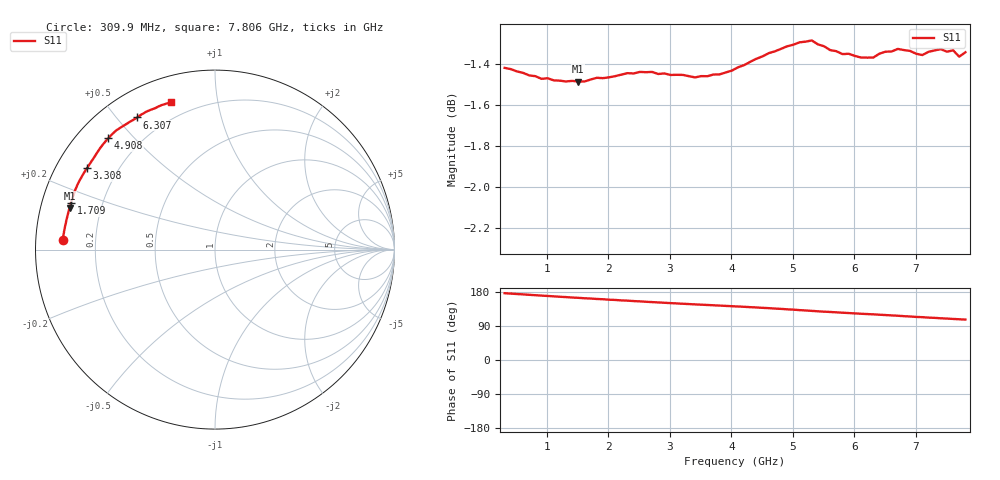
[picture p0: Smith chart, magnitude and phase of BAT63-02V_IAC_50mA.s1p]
! Infineon Technologies  Discrete & RF Semiconductors
! BAT63-02V
! IAC = 50 mA
! One-Port S-Parameters
# Hz  S  MA  R  50
!f  S11
!Hz  Mag  Ang
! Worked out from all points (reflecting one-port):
!   76 points, 309.9 MHz to 7.806 GHz, reference 50 ohm
!   lowest |S11| = -1.5 dB at 1.509 GHz (marker M1), VSWR 11.72, Z = 4.35 + j6.95 ohm
!   phase of S11 starts at 176 deg and turns -70 deg over the sweep
!   S11 on the Smith chart (normalised r, x): 309.9 MHz: 0.08, +0.03; 1.709 GHz: 0.09, +0.16; 3.308 GHz: 0.09, +0.29; 4.908 GHz: 0.09, +0.42; 6.307 GHz: 0.10, +0.57; 7.806 GHz: 0.12, +0.74
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3.0985e8  0.8493 176.3
7.0965e8  0.8457 172.0
1.30935e9  0.8428 166.0
1.50925e9  0.8428 164.1
1.6092e9  0.8428 162.9
1.70915e9  0.8437 162.2
1.8091e9  0.8446 161.1
1.90905e9  0.8444 160.3
2.009e9  0.8448 159.1
2.10895e9  0.8453 158.5
2.2089e9  0.846 157.3
2.50875e9  0.8473 154.7
2.6087e9  0.8472 153.7
3.2084e9  0.8459 148.4
3.30835e9  0.8453 147.6
4.10795e9  0.8495 141.1
4.4078e9  0.8536 138.7
4.90755e9  0.8596 133.8
5.0075e9  0.8603 132.8
5.4073e9  0.8605 128.5
6.007e9  0.855 123.0
6.30685e9  0.8542 120.5
6.70665e9  0.8583 116.8
6.90655e9  0.8573 114.8
7.0065e9  0.856 113.6
7.30635e9  0.8576 111.2
7.4063e9  0.8582 110.1
7.8061e9  0.8567 106.7
